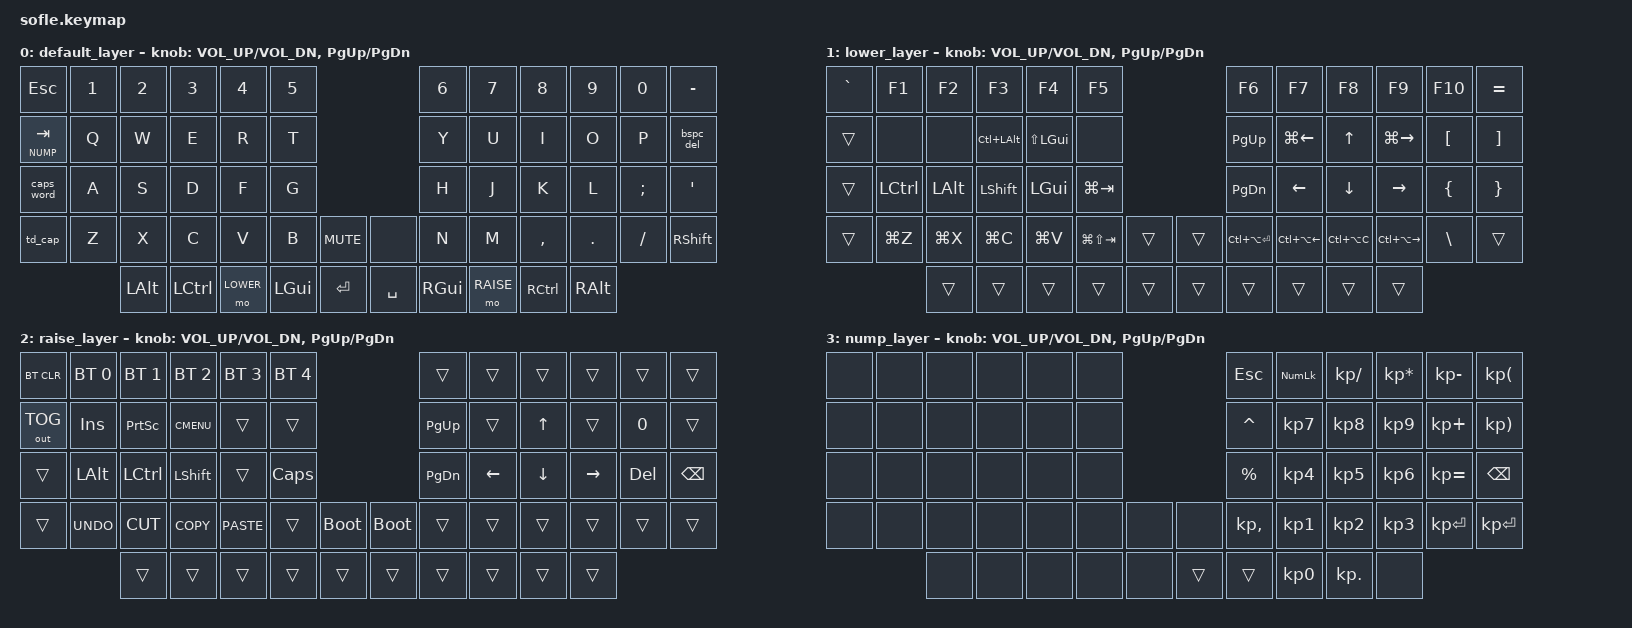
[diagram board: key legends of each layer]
/*
 * Copyright (c) 2020 The ZMK Contributors
 *
 * SPDX-License-Identifier: MIT
 */

#include <behaviors.dtsi>
#include <dt-bindings/zmk/keys.h>
#include <dt-bindings/zmk/bt.h>
#include <dt-bindings/zmk/outputs.h>

#define DEFAULT 0
#define LOWER   1
#define RAISE   2
#define NUMP    3

#define MOT(layer) &mo_tog layer layer   // Macro to apply momentary-layer-on-hold/toggle-layer-on-tap to a specific layer


/ {
    behaviors {
        bspc_del: backspace_delete {
            compatible = "zmk,behavior-mod-morph";
            #binding-cells = <0>;
            bindings = <&kp BACKSPACE>, <&kp DELETE>;
            mods = <(MOD_LSFT|MOD_RSFT)>;
            keep-mods = <(MOD_RSFT)>;
        };

        gresc: grave_escape {
            compatible = "zmk,behavior-mod-morph";
            #binding-cells = <0>;
            bindings = <&kp ESC>, <&kp GRAVE>;
            mods = <(MOD_LGUI|MOD_LSFT|MOD_RGUI|MOD_RSFT)>;
        };

        td_cap: tap_dance_shift_caps {
            compatible = "zmk,behavior-tap-dance";
            #binding-cells = <0>;
            tapping-term-ms = <200>;
            bindings = <&kp LSHFT>, <&kp CAPSLOCK>;
        };

        mo_tog: behavior_mo_tog {
            compatible = "zmk,behavior-hold-tap";
            #binding-cells = <2>;
            flavor = "hold-preferred";
            tapping-term-ms = <200>;
            bindings = <&mo>, <&tog>;
        };
    };

    keymap {
        compatible = "zmk,keymap";

        default_layer {
// ------------------------------------------------------------------------------------------------------------
// |  ESC  |  1  |  2  |  3   |  4   |  5   |                   |  6   |  7    |  8    |  9   |   0   |   -   |
// | TAB/N |  Q  |  W  |  E   |  R   |  T   |                   |  Y   |  U    |  I    |  O   |   P   | BKSPC |
// | CAPW  |  A  |  S  |  D   |  F   |  G   |                   |  H   |  J    |  K    |  L   |   ;   |   '   |
// | SHIFT |  Z  |  X  |  C   |  V   |  B   |  MUTE  |  |       |  N   |  M    |  ,    |  .   |   /   | SHIFT |
//               | ALT | CTRL | LOWER| GUI  |  ENTER |  | SPACE | GUI  | RAISE| CTRL  | ALT   | 
            bindings = <
&kp ESC       &kp N1 &kp N2   &kp N3    &kp N4    &kp N5                          &kp N6   &kp N7     &kp N8    &kp N9   &kp N0   &kp MINUS
&lt NUMP TAB  &kp Q  &kp W    &kp E     &kp R     &kp T                           &kp Y    &kp U      &kp I     &kp O    &kp P    &bspc_del
&caps_word    &kp A  &kp S    &kp D     &kp F     &kp G                           &kp H    &kp J      &kp K     &kp L    &kp SEMI &kp SQT
&td_cap       &kp Z  &kp X    &kp C     &kp V     &kp B     &kp C_MUTE  &none     &kp N    &kp M      &kp COMMA &kp DOT  &kp FSLH &kp RSHFT
                     &kp LALT &kp LCTRL &mo LOWER &kp LGUI  &kp RET     &kp SPACE &kp RGUI &mo RAISE  &kp RCTRL &kp RALT  
            >;

            sensor-bindings = <&inc_dec_kp C_VOL_UP C_VOL_DN &inc_dec_kp PG_UP PG_DN>;
        };

        lower_layer {
// TODO: Some binds are waiting for shifted keycode support.
// ------------------------------------------------------------------------------------------------------------
// | `     |  F1 |  F2 |  F3  |  F4  |  F5  |                   |  F6  |  F7   |  F8   |  F9  |  F10  |   =   |
// |       |   1 |   2 |   3  |   4  |   5  |                   |   6  |   7   |   8   |   9  |    0  |  F12  |
// |       |  !  |  @  |  #   |  $   |  %   |                   |  ^   |  &    |  *    |  (   |   )   |   |   |
// |       |  =  |  -  |  +   |  {   |  }   |        |  |       |  [   |  ]    |  ;    |  :   |   \   |       |
//               |     |      |      |      |        |  |       |      |       |       |      |
            bindings = <
&kp GRAVE &kp F1    &kp F2    &kp F3       &kp F4       &kp F5                           &kp F6          &kp F7           &kp F8        &kp F9            &kp F10   &kp EQUAL
&trans    &none     &none     &kp LC(LALT) &kp LS(LGUI) &none                            &kp PG_UP       &kp LG(LEFT)     &kp UP        &kp LG(RIGHT)     &kp LBKT  &kp RBKT
&trans    &kp LCTRL &kp LALT  &kp LSHFT    &kp LGUI     &kp LG(TAB)                      &kp PG_DN       &kp LEFT         &kp DOWN      &kp RIGHT         &kp LBRC  &kp RBRC
&trans    &kp LG(Z) &kp LG(X) &kp LG(C)    &kp LG(V)    &kp LG(LS(TAB))  &trans   &trans &kp LC(LA(RET)) &kp LC(LA(LEFT)) &kp LC(LA(C)) &kp LC(LA(RIGHT)) &kp BSLH  &trans
                    &trans    &trans       &trans       &trans           &trans   &trans &trans          &trans           &trans        &trans
            >;

            sensor-bindings = <&inc_dec_kp C_VOL_UP C_VOL_DN &inc_dec_kp PG_UP PG_DN>;
        };

        raise_layer {
// ------------------------------------------------------------------------------------------------------------
// |BTCLR| BT1  | BT2  |  BT3  |  BT4  |  BT5 |                |      |      |       |      |       |       |
// |     | INS  | PSCR | GUI   |       |      |                | PGUP |      |   ^   |      |       |       |
// |     | ALT  | CTRL | SHIFT |       | CAPS |                | PGDN |   <- |   v   |  ->  |  DEL  | BKSPC |
// |     | UNDO | CUT  | COPY  | PASTE |      |      |  |      |      |      |       |      |       |       |
//              |      |       |       |      |      |  |      |      |      |       |      |
            bindings = <
&bt BT_CLR   &bt BT_SEL 0 &bt BT_SEL 1 &bt BT_SEL 2 &bt BT_SEL 3 &bt BT_SEL 4                       &trans    &trans    &trans   &trans    &trans  &trans
&out OUT_TOG &kp INS      &kp PSCRN    &kp K_CMENU  &trans       &trans                             &kp PG_UP &trans    &kp UP   &trans    &kp N0  &trans
&trans       &kp LALT     &kp LCTRL    &kp LSHFT    &trans       &kp CLCK                           &kp PG_DN &kp LEFT  &kp DOWN &kp RIGHT &kp DEL &kp BSPC
&trans       &kp K_UNDO   &kp K_CUT    &kp K_COPY   &kp K_PASTE  &trans  &bootloader   &bootloader  &trans    &trans    &trans   &trans    &trans  &trans
                          &trans       &trans       &trans       &trans  &trans        &trans       &trans    &trans    &trans   &trans
            >;

            sensor-bindings = <&inc_dec_kp C_VOL_UP C_VOL_DN &inc_dec_kp PG_UP PG_DN>;
        };
        
        nump_layer {
// ------------------------------------------------------------------------------------------------------------
// |BTCLR| BT1  | BT2  |  BT3  |  BT4  |  BT5 |                |      |      |       |      |       |       |
// |     | INS  | PSCR | GUI   |       |      |                | PGUP |      |   ^   |      |       |       |
// |     | ALT  | CTRL | SHIFT |       | CAPS |                | PGDN |   <- |   v   |  ->  |  DEL  | BKSPC |
// |     | UNDO | CUT  | COPY  | PASTE |      |      |  |      |      |      |       |      |       |       |
//              |      |       |       |      |      |  |      |      |      |       |      |
            bindings = <
&none  &none &none &none &none &none                &kp ESC      &kp KP_NUM &kp KP_DIVIDE &kp KP_MULTIPLY &kp KP_SUBTRACT &kp KP_LPAR
&none  &none &none &none &none &none                &kp CARET    &kp KP_N7  &kp KP_N8     &kp KP_N9       &kp KP_PLUS     &kp KP_RPAR
&none  &none &none &none &none &none                &kp PRCNT    &kp KP_N4  &kp KP_N5     &kp KP_N6       &kp KP_EQUAL    &kp BSPC
&none  &none &none &none &none &none &none   &none  &kp KP_COMMA &kp KP_N1  &kp KP_N2     &kp KP_N3       &kp KP_ENTER    &kp KP_ENTER
             &none &none &none &none &none   &trans &trans       &kp KP_N0  &kp KP_DOT    &none
            >;

            sensor-bindings = <&inc_dec_kp C_VOL_UP C_VOL_DN &inc_dec_kp PG_UP PG_DN>;
        };
    };
};
